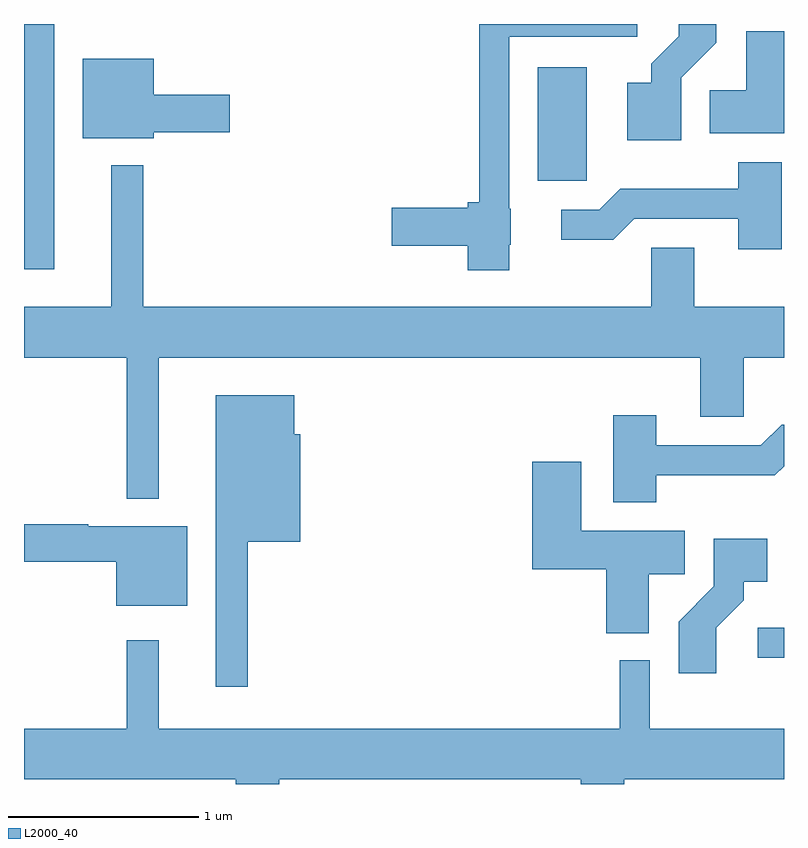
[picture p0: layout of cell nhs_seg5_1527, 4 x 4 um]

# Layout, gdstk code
import gdstk
lib = gdstk.Library(unit=1e-6, precision=1e-09)
def R(c, l, rs):  # rectangles x0, y0, x1, y1
    for r in rs: c.add(gdstk.rectangle(r[:2], r[2:], *l))
def P(c, l, *ps):  # polygons
    for p in ps: c.add(gdstk.Polygon(p, *l))
L2000_40 = (2000, 40)

nhs_seg5_1527 = lib.new_cell('nhs_seg5_1527')
R(nhs_seg5_1527, L2000_40, [(233.473,1490.736,233.611,1490.894), (229.611,1492.781,229.769,1494.072), (232.316,1493.246,232.574,1493.844)])
P(nhs_seg5_1527, L2000_40, [(233.069,1493.789),(233.254,1493.974),(233.254,1494.072),(233.056,1494.072),(233.056,1494.007),(232.911,1493.862),(232.911,1493.764),(232.786,1493.764),(232.786,1493.461),(233.069,1493.461)],
  [(232.164,1492.91),(232.174,1492.91),(232.174,1493.1),(232.164,1493.1),(232.164,1494.006),(232.838,1494.006),(232.838,1494.072),(232.006,1494.072),(232.006,1493.134),(231.946,1493.134),(231.946,1493.104),(231.546,1493.104),(231.546,1492.906),(231.946,1492.906),(231.946,1492.776),(232.164,1492.776)],
  [(233.611,1494.034),(233.411,1494.034),(233.411,1493.724),(233.221,1493.724),(233.221,1493.496),(233.611,1493.496)],
  [(230.294,1493.501),(230.694,1493.501),(230.694,1493.699),(230.294,1493.699),(230.294,1493.889),(229.921,1493.889),(229.921,1493.471),(230.294,1493.471)],
  [(233.599,1493.344),(233.371,1493.344),(233.371,1493.204),(232.749,1493.204),(232.639,1493.094),(232.438,1493.094),(232.438,1492.936),(232.712,1492.936),(232.822,1493.046),(233.371,1493.046),(233.371,1492.886),(233.599,1492.886)],
  [(233.139,1492.894),(232.911,1492.894),(232.911,1492.584),(230.239,1492.584),(230.239,1493.328),(230.071,1493.328),(230.071,1492.584),(229.611,1492.584),(229.611,1492.316),(230.151,1492.316),(230.151,1491.573),(230.319,1491.573),(230.319,1492.316),(233.171,1492.316),(233.171,1492.006),(233.399,1492.006),(233.399,1492.316),(233.611,1492.316),(233.611,1492.584),(233.139,1492.584)],
  [(230.789,1491.346),(231.064,1491.346),(231.064,1491.914),(231.034,1491.914),(231.034,1492.119),(230.621,1492.119),(230.621,1490.583),(230.789,1490.583)],
  [(232.939,1491.696),(233.562,1491.696),(233.611,1491.745),(233.611,1491.964),(233.599,1491.964),(233.489,1491.854),(232.939,1491.854),(232.939,1492.014),(232.711,1492.014),(232.711,1491.556),(232.939,1491.556)],
  [(232.899,1491.176),(233.089,1491.176),(233.089,1491.404),(232.544,1491.404),(232.544,1491.769),(232.286,1491.769),(232.286,1491.201),(232.676,1491.201),(232.676,1490.866),(232.899,1490.866)],
  [(230.469,1491.429),(229.95,1491.429),(229.95,1491.439),(229.611,1491.439),(229.611,1491.241),(230.096,1491.241),(230.096,1491.011),(230.469,1491.011)],
  [(233.254,1490.894),(233.399,1491.039),(233.399,1491.136),(233.524,1491.136),(233.524,1491.364),(233.241,1491.364),(233.241,1491.112),(233.056,1490.927),(233.056,1490.656),(233.254,1490.656)],
  [(230.954,1490.096),(232.541,1490.096),(232.541,1490.072),(232.769,1490.072),(232.769,1490.096),(233.611,1490.096),(233.611,1490.364),(232.904,1490.364),(232.904,1490.723),(232.746,1490.723),(232.746,1490.364),(230.319,1490.364),(230.319,1490.828),(230.151,1490.828),(230.151,1490.364),(229.611,1490.364),(229.611,1490.096),(230.726,1490.096),(230.726,1490.072),(230.954,1490.072)])

lib.write_gds('nhs_seg5_1527.gds')
